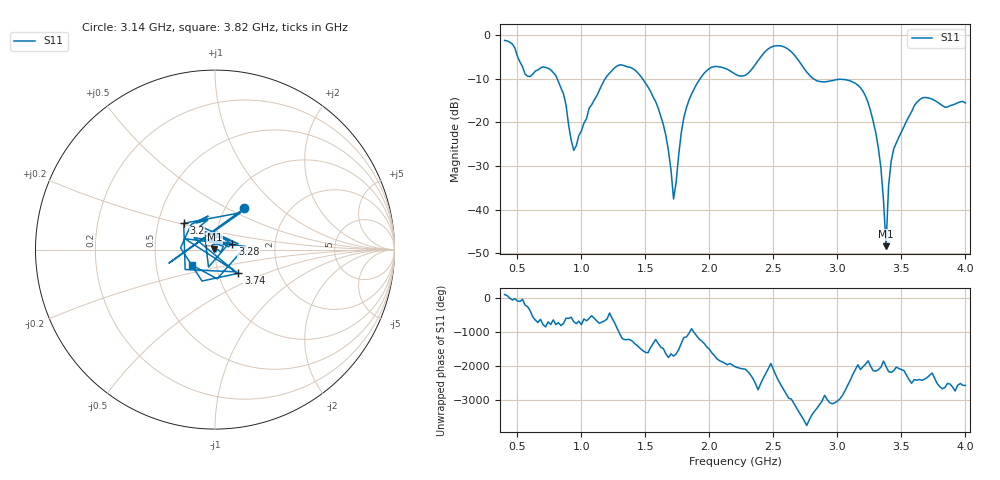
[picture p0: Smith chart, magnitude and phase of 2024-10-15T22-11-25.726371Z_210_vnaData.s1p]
! Created with skrf (http://scikit-rf.org).
# Hz S RI R 50.0
!freq ReS11 ImS11
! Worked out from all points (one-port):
!   181 points, 400 MHz to 4 GHz, reference 50 ohm
!   lowest |S11| = -48.4 dB at 3.38 GHz (marker M1), VSWR 1.01, Z = 49.7 + j0.194 ohm
!   |S11| at or under -10 dB: 811 MHz to 1.185 GHz (374.3 MHz wide, 37.5 % of centre); 1.478 GHz to 1.927 GHz (449 MHz wide, 26.4 % of centre); 2.814 GHz to end of sweep
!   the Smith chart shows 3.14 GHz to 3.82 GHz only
!   S11 on the Smith chart (normalised r, x): 3.14 GHz: 1.22, +0.61; 3.2 GHz: 0.68, +0.21; 3.28 GHz: 1.21, +0.08; 3.74 GHz: 1.25, -0.34; 3.82 GHz: 0.76, -0.13
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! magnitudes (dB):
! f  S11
! 400 MHz  -1.2
! 560 MHz  -8.9
! 740 MHz  -7.6
! 860 MHz  -13.4
! 940 MHz  -26.4
! 1.3 GHz  -6.8
! 1.58 GHz  -15.2
! 1.66 GHz  -23.0
! 1.72 GHz  -37.5
! 1.76 GHz  -27.5
! 1.82 GHz  -16.7
! 1.94 GHz  -9.4
! 2.2 GHz  -8.9
! 2.5 GHz  -2.5
! 2.66 GHz  -4.4
! 2.84 GHz  -10.5
! 3.1 GHz  -10.5
! 3.14 GHz  -11.0
! 3.2 GHz  -12.8
! 3.28 GHz  -19.8
! 3.34 GHz  -30.4
! 3.38 GHz  -48.4
! 3.4 GHz  -34.5
! 3.42 GHz  -28.9
! 3.56 GHz  -18.6
! 3.74 GHz  -14.7
! 3.82 GHz  -16.1
! 4 GHz  -15.5
